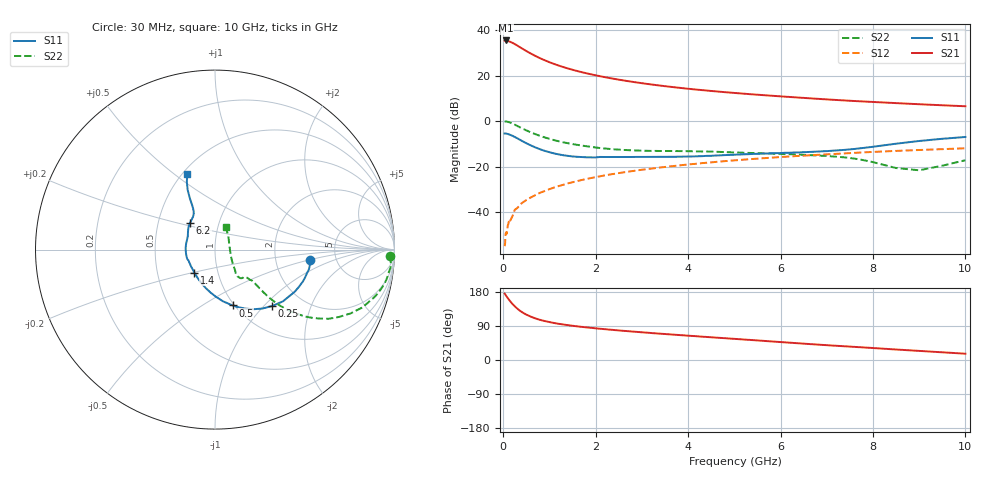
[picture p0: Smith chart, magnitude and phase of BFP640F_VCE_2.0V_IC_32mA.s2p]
! Infineon Technologies  Discrete & RF Semiconductors
! BFP640F
! VCE =  2.0 V,  IC =  32 mA
! Common Emitter S-Parameters:  Apr 2013
# GHz  S  MA  R  50
!  f  S11  S21  S12  S22
! GHz  MAG  ANG  MAG  ANG  MAG  ANG  MAG  ANG
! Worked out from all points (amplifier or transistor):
!   99 points, 30 MHz to 10 GHz, reference 50 ohm
!   highest |S21| = 35.4 dB at 50 MHz (marker M1)
!   |S21| within 3 dB of that: start of sweep to 365.5 MHz
!   unconditionally stable (mu >= 1): 1.754 GHz to end of sweep
!   at 350 MHz: K = 0.49, MSG = 34.9 dB, |S12| = -37.2 dB
!   at 3.5 GHz: K = 1.06, MAG = 16.3 dB, |S12| = -20.1 dB
!   at 10 GHz: K = 1.04, MAG = 8.0 dB, |S12| = -11.9 dB
!   S11 on the Smith chart (normalised r, x): 30 MHz: 3.21, -0.52; 250 MHz: 1.42, -1.12; 500 MHz: 0.98, -0.68; 1.4 GHz: 0.77, -0.20; 6.2 GHz: 0.73, +0.22; 10 GHz: 0.53, +0.56
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0.03  0.535 -6.2  58.03 175.4  0.0018 103.9  0.9771 -2.1
0.05  0.5354 -10.2  58.8 172.0  0.0033 98.8  0.9846 -4.8
0.1  0.5207 -20.1  57.34 163.1  0.0052 94.5  0.9639 -11.2
0.15  0.4978 -29.2  55.03 155.1  0.0065 80.2  0.9265 -16.6
0.2  0.4758 -37.3  52.12 147.9  0.0082 75.0  0.8826 -21.4
0.25  0.4473 -44.6  48.98 141.6  0.0113 75.5  0.8349 -25.2
0.3  0.4218 -51.1  45.76 136.1  0.0123 75.1  0.7863 -28.5
0.35  0.3949 -57.3  42.54 131.1  0.0138 75.9  0.7419 -31.3
0.4  0.3703 -62.6  39.69 126.8  0.0158 74.2  0.6982 -33.4
0.5  0.3265 -72.4  34.49 119.8  0.0185 73.1  0.6253 -36.6
0.6  0.292 -81.1  30.24 114.2  0.0212 72.6  0.5641 -38.7
0.8  0.2405 -96.0  23.9 105.8  0.0268 71.9  0.4721 -40.9
1.1  0.1952 -115.4  17.95 97.6  0.0349 71.7  0.3821 -41.5
1.4  0.1726 -131.9  14.27 91.9  0.043 71.2  0.3272 -41.0
1.7  0.1625 -146.2  11.84 87.4  0.051 70.1  0.29 -40.1
2.4  0.163 -170.3  8.452 79.1  0.0696 67.5  0.2404 -41.3
3.4  0.1645 166.7  6.005 69.4  0.096 62.5  0.2206 -44.6
5.1  0.1845 144.2  4.072 55.0  0.1398 53.5  0.204 -49.4
6.2  0.2018 133.6  3.382 45.7  0.1673 47.1  0.1877 -50.1
6.7  0.2121 127.6  3.131 41.5  0.1791 44.2  0.1779 -49.3
8.5  0.319 116.1  2.481 27.7  0.2217 33.5  0.0933 -20.0
10  0.448 110.1  2.116 16.6  0.2531 24.6  0.1385 64.1
